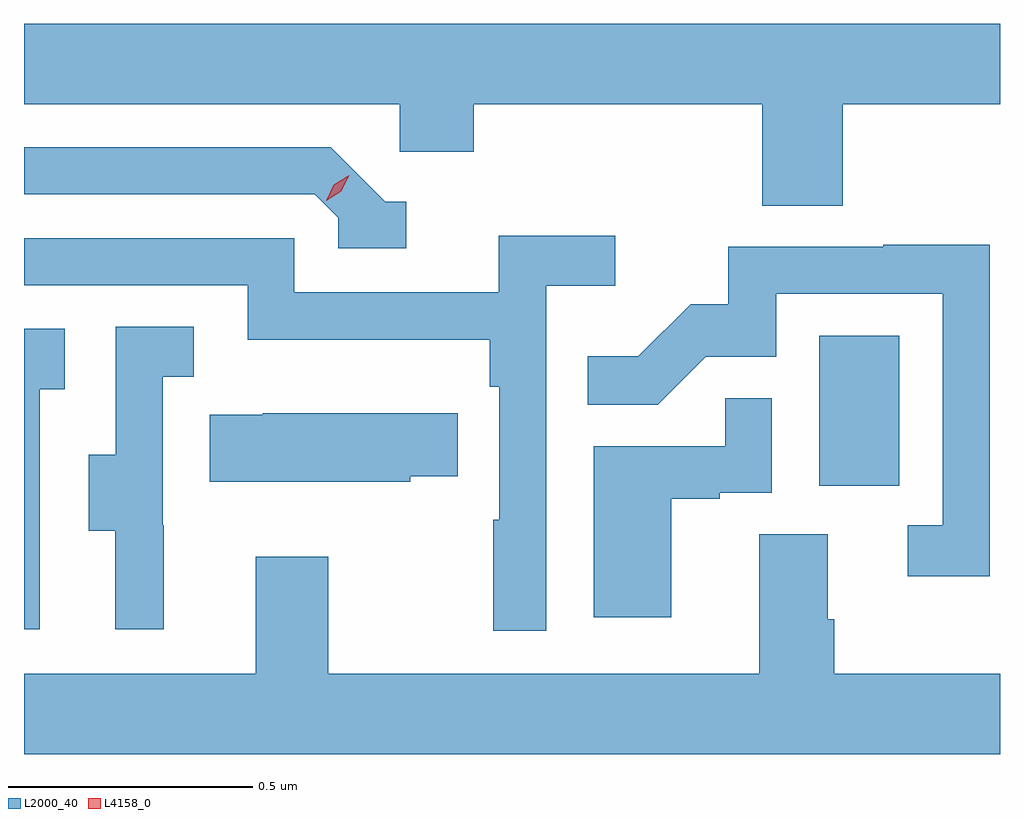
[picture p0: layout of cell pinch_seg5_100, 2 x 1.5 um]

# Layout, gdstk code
import gdstk
lib = gdstk.Library(unit=1e-6, precision=1e-09)
def R(c, l, rs):  # rectangles x0, y0, x1, y1
    for r in rs: c.add(gdstk.rectangle(r[:2], r[2:], *l))
def P(c, l, *ps):  # polygons
    for p in ps: c.add(gdstk.Polygon(p, *l))
L2000_40 = (2000, 40)
L4158_0 = (4158, 0)

pinch_seg5_100 = lib.new_cell('pinch_seg5_100')
R(pinch_seg5_100, L2000_40, [(1074.896,913.254,1075.06,913.561)])
P(pinch_seg5_100, L2000_40, [(1074.944,914.036),(1075.266,914.036),(1075.266,914.2),(1073.266,914.2),(1073.266,914.036),(1074.036,914.036),(1074.036,913.938),(1074.188,913.938),(1074.188,914.036),(1074.779,914.036),(1074.779,913.828),(1074.944,913.828)],
  [(1074.049,913.836),(1074.006,913.836),(1073.895,913.947),(1073.266,913.947),(1073.266,913.851),(1073.862,913.851),(1073.91,913.803),(1073.91,913.74),(1074.049,913.74)],
  [(1074.336,913.664),(1074.478,913.664),(1074.478,913.766),(1074.239,913.766),(1074.239,913.65),(1073.82,913.65),(1073.82,913.761),(1073.266,913.761),(1073.266,913.665),(1073.724,913.665),(1073.724,913.553),(1074.22,913.553),(1074.22,913.457),(1074.24,913.457),(1074.24,913.184),(1074.228,913.184),(1074.228,912.957),(1074.336,912.957)],
  [(1075.245,913.748),(1075.027,913.748),(1075.027,913.743),(1074.709,913.743),(1074.709,913.626),(1074.632,913.626),(1074.525,913.519),(1074.421,913.519),(1074.421,913.42),(1074.565,913.42),(1074.663,913.518),(1074.807,913.518),(1074.807,913.647),(1075.149,913.647),(1075.149,913.173),(1075.077,913.173),(1075.077,913.068),(1075.245,913.068)],
  [(1073.552,913.173),(1073.55,913.173),(1073.55,913.477),(1073.614,913.477),(1073.614,913.58),(1073.454,913.58),(1073.454,913.317),(1073.399,913.317),(1073.399,913.162),(1073.453,913.162),(1073.453,912.96),(1073.552,912.96)],
  [(1073.298,913.451),(1073.35,913.451),(1073.35,913.575),(1073.266,913.575),(1073.266,912.96),(1073.298,912.96)],
  [(1074.592,913.227),(1074.692,913.227),(1074.692,913.239),(1074.798,913.239),(1074.798,913.433),(1074.703,913.433),(1074.703,913.335),(1074.434,913.335),(1074.434,912.984),(1074.592,912.984)],
  [(1074.057,913.273),(1074.155,913.273),(1074.155,913.402),(1073.755,913.402),(1073.755,913.399),(1073.647,913.399),(1073.647,913.262),(1074.057,913.262)],
  [(1075.266,912.868),(1074.926,912.868),(1074.926,912.98),(1074.913,912.98),(1074.913,913.154),(1074.773,913.154),(1074.773,912.868),(1073.889,912.868),(1073.889,913.108),(1073.741,913.108),(1073.741,912.868),(1073.266,912.868),(1073.266,912.704),(1075.266,912.704)])
P(pinch_seg5_100, L4158_0, [(1073.885,913.838),(1073.885,913.838),(1073.901,913.871),(1073.932,913.89),(1073.932,913.89),(1073.932,913.89),(1073.916,913.857),(1073.885,913.838)])

lib.write_gds('pinch_seg5_100.gds')
